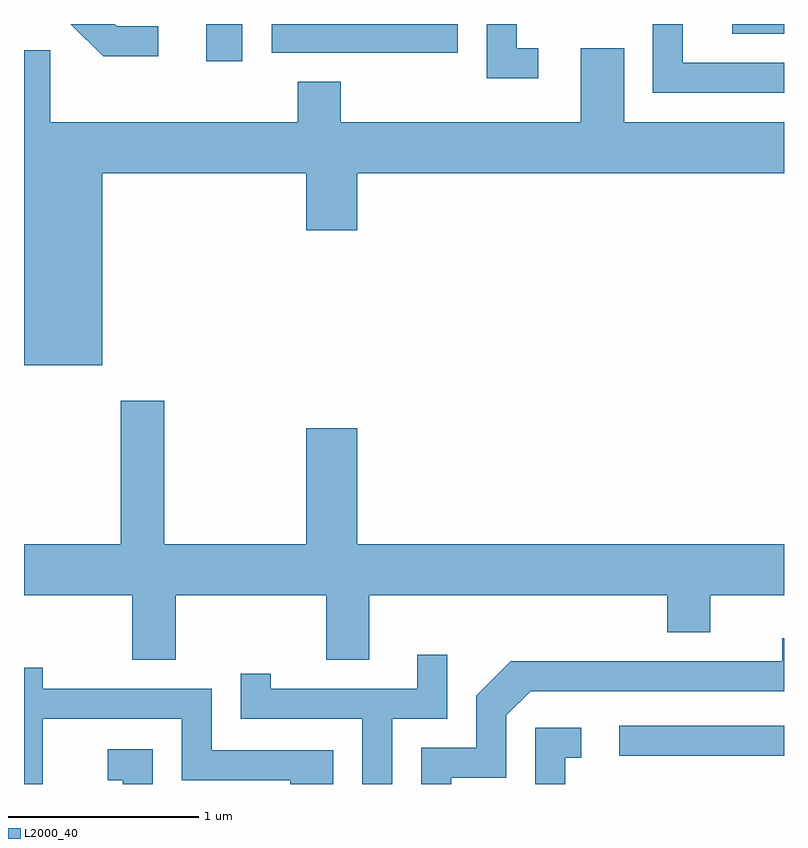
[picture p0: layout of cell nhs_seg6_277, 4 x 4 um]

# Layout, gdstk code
import gdstk
lib = gdstk.Library(unit=1e-6, precision=1e-09)
def R(c, l, rs):  # rectangles x0, y0, x1, y1
    for r in rs: c.add(gdstk.rectangle(r[:2], r[2:], *l))
def P(c, l, *ps):  # polygons
    for p in ps: c.add(gdstk.Polygon(p, *l))
L2000_40 = (2000, 40)

nhs_seg6_277 = lib.new_cell('nhs_seg6_277')
R(nhs_seg6_277, L2000_40, [(196.743,1540.311,197.611,1540.469), (194.571,1543.966,194.759,1544.162), (194.916,1544.011,195.894,1544.162), (197.338,1544.111,197.611,1544.162)])
P(nhs_seg6_277, L2000_40, [(196.318,1544.034),(196.204,1544.034),(196.204,1544.162),(196.046,1544.162),(196.046,1543.876),(196.318,1543.876)],
  [(197.611,1543.959),(197.079,1543.959),(197.079,1544.162),(196.921,1544.162),(196.921,1543.801),(197.611,1543.801)],
  [(194.318,1544.149),(194.102,1544.149),(194.089,1544.162),(193.858,1544.162),(194.029,1543.991),(194.318,1543.991)],
  [(194.024,1543.376),(195.096,1543.376),(195.096,1543.076),(195.364,1543.076),(195.364,1543.376),(197.611,1543.376),(197.611,1543.644),(196.769,1543.644),(196.769,1544.034),(196.541,1544.034),(196.541,1543.644),(195.279,1543.644),(195.279,1543.859),(195.051,1543.859),(195.051,1543.644),(193.749,1543.644),(193.749,1544.024),(193.611,1544.024),(193.611,1542.366),(194.024,1542.366)],
  [(194.409,1541.156),(195.201,1541.156),(195.201,1540.816),(195.429,1540.816),(195.429,1541.156),(196.996,1541.156),(196.996,1540.961),(197.224,1540.961),(197.224,1541.156),(197.611,1541.156),(197.611,1541.424),(195.364,1541.424),(195.364,1542.034),(195.096,1542.034),(195.096,1541.424),(194.349,1541.424),(194.349,1542.179),(194.121,1542.179),(194.121,1541.424),(193.611,1541.424),(193.611,1541.156),(194.181,1541.156),(194.181,1540.816),(194.409,1540.816)],
  [(195.859,1540.196),(196.149,1540.196),(196.149,1540.524),(196.277,1540.651),(197.611,1540.651),(197.611,1540.929),(197.601,1540.929),(197.601,1540.809),(196.174,1540.809),(195.991,1540.627),(195.991,1540.354),(195.701,1540.354),(195.701,1540.162),(195.859,1540.162)],
  [(195.549,1540.506),(195.839,1540.506),(195.839,1540.843),(195.681,1540.843),(195.681,1540.664),(194.909,1540.664),(194.909,1540.743),(194.751,1540.743),(194.751,1540.506),(195.391,1540.506),(195.391,1540.162),(195.549,1540.162)],
  [(193.709,1540.506),(194.441,1540.506),(194.441,1540.181),(195.011,1540.181),(195.011,1540.162),(195.239,1540.162),(195.239,1540.339),(194.599,1540.339),(194.599,1540.664),(193.709,1540.664),(193.709,1540.774),(193.611,1540.774),(193.611,1540.162),(193.709,1540.162)],
  [(196.459,1540.301),(196.543,1540.301),(196.543,1540.459),(196.301,1540.459),(196.301,1540.162),(196.459,1540.162)],
  [(194.289,1540.344),(194.053,1540.344),(194.053,1540.181),(194.131,1540.181),(194.131,1540.162),(194.289,1540.162)])

lib.write_gds('nhs_seg6_277.gds')
